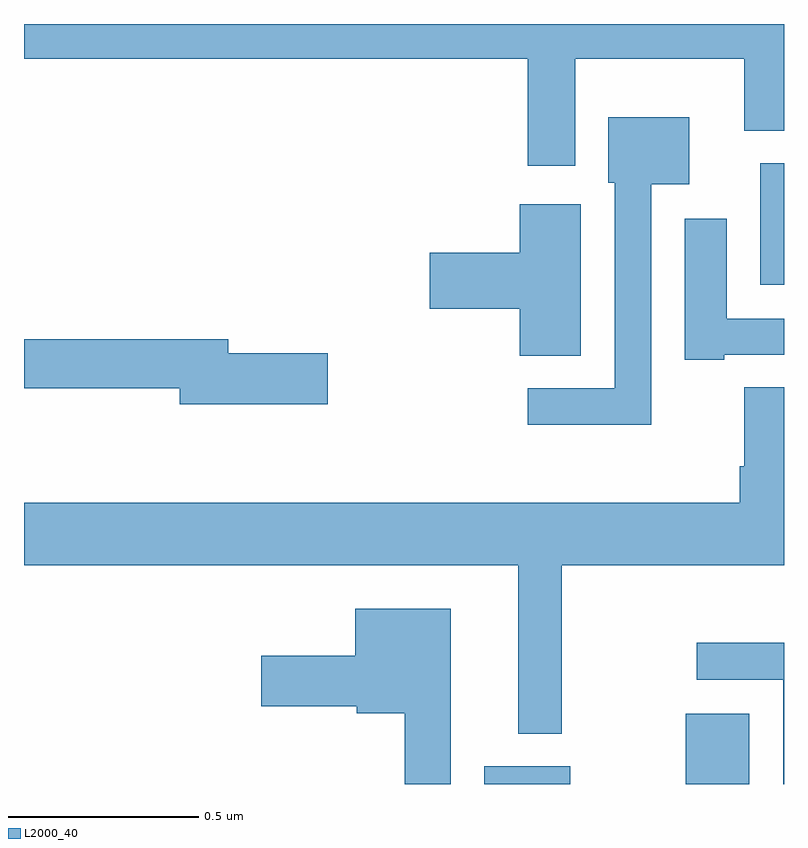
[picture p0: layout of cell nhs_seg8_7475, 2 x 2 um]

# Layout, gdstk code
import gdstk
lib = gdstk.Library(unit=1e-6, precision=1e-09)
def R(c, l, rs):  # rectangles x0, y0, x1, y1
    for r in rs: c.add(gdstk.rectangle(r[:2], r[2:], *l))
def P(c, l, *ps):  # polygons
    for p in ps: c.add(gdstk.Polygon(p, *l))
L2000_40 = (2000, 40)

nhs_seg8_7475 = lib.new_cell('nhs_seg8_7475')
R(nhs_seg8_7475, L2000_40, [(211.211,1139.9,211.438,1139.947), (211.742,1139.9,211.909,1140.085), (211.937,1141.214,212,1141.534)])
P(nhs_seg8_7475, L2000_40, [(211.45,1141.808),(211.895,1141.808),(211.895,1141.619),(212,1141.619),(212,1141.9),(210,1141.9),(210,1141.808),(211.325,1141.808),(211.325,1141.527),(211.45,1141.527)],
  [(211.65,1141.478),(211.75,1141.478),(211.75,1141.654),(211.538,1141.654),(211.538,1141.482),(211.554,1141.482),(211.554,1140.942),(211.326,1140.942),(211.326,1140.845),(211.65,1140.845)],
  [(211.465,1141.426),(211.304,1141.426),(211.304,1141.298),(211.068,1141.298),(211.068,1141.151),(211.304,1141.151),(211.304,1141.027),(211.465,1141.027)],
  [(211.843,1141.029),(212,1141.029),(212,1141.125),(211.849,1141.125),(211.849,1141.387),(211.739,1141.387),(211.739,1141.017),(211.843,1141.017)],
  [(210.799,1141.034),(210.538,1141.034),(210.538,1141.07),(210,1141.07),(210,1140.942),(210.41,1140.942),(210.41,1140.899),(210.799,1140.899)],
  [(211.415,1140.476),(212,1140.476),(212,1140.944),(211.895,1140.944),(211.895,1140.736),(211.883,1140.736),(211.883,1140.64),(210,1140.64),(210,1140.476),(211.301,1140.476),(211.301,1140.032),(211.415,1140.032)],
  [(211.123,1140.361),(210.872,1140.361),(210.872,1140.238),(210.624,1140.238),(210.624,1140.104),(210.876,1140.104),(210.876,1140.086),(211.002,1140.086),(211.002,1139.9),(211.123,1139.9)],
  [(212,1140.272),(211.77,1140.272),(211.77,1140.174),(211.998,1140.174),(211.998,1139.9),(212,1139.9)])

lib.write_gds('nhs_seg8_7475.gds')
